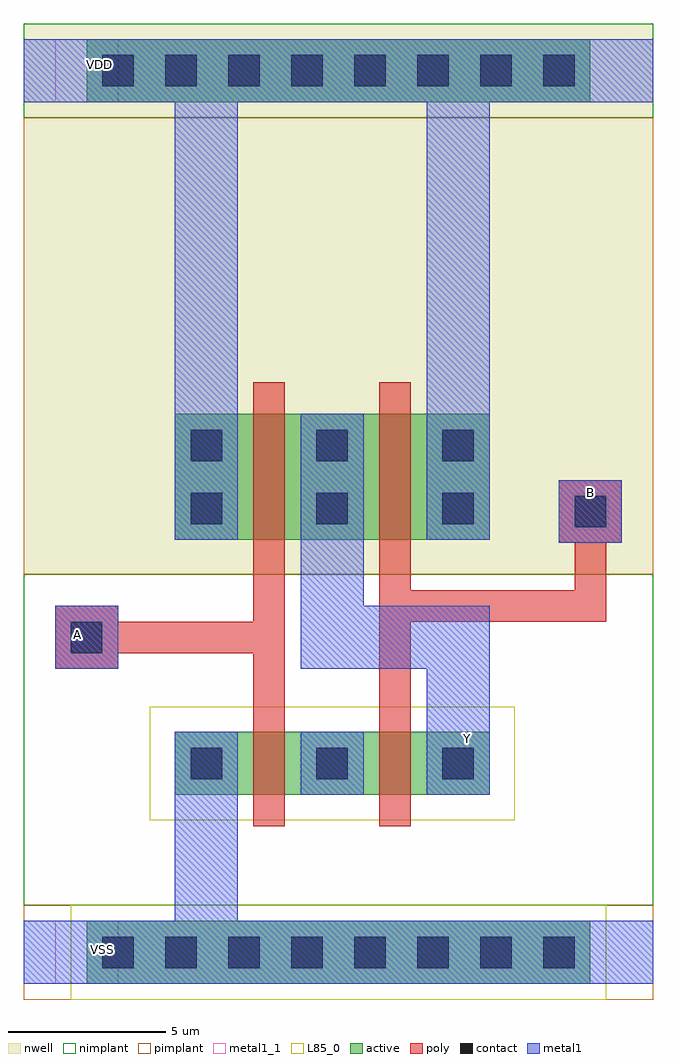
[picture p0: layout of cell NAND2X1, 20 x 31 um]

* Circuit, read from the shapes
.subckt NAND2X1 A B VDD VSS Y
M1 n1 A VSS VSS nfet w=2u l=1u
M2 Y B n1 VSS nfet w=2u l=1u
M3 Y A VDD VDD pfet w=4u l=1u
M4 VDD B Y VDD pfet w=4u l=1u
.ends

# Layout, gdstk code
from math import pi, radians
import gdstk
lib = gdstk.Library(unit=1e-6, precision=5e-10)
def R(c, l, rs):  # rectangles x0, y0, x1, y1
    for r in rs: c.add(gdstk.rectangle(r[:2], r[2:], *l))
def A(c, l, x, y, w, h, nx, ny, dx, dy):  # array of equal rectangles
    R(c, l, [(x+i*dx, y+j*dy, x+i*dx+w, y+j*dy+h) for i in range(nx) for j in range(ny)])
active = (1, 0)
nwell = (2, 0)
poly = (3, 0)
nimplant = (4, 0)
pimplant = (5, 0)
contact = (6, 0)
metal1 = (7, 0)
metal1_1 = (7, 1)
L85_0 = (85, 0)

pmos4_cdns_4 = lib.new_cell('pmos4_CDNS_4')
R(pmos4_cdns_4, active, [(1,1,7,5)])
R(pmos4_cdns_4, nwell, [(0.2,0.2,7.8,5.8)])
R(pmos4_cdns_4, poly, [(3.5,0,4.5,6), (3.6,5.5,4.4,5.9)])
R(pmos4_cdns_4, pimplant, [(0,0,8,6)])
R(pmos4_cdns_4, contact, [(1.5,1.5,2.5,2.5), (5.5,1.5,6.5,2.5), (1.5,3.5,2.5,4.5), (5.5,3.5,6.5,4.5)])
R(pmos4_cdns_4, metal1, [(1,1,3,5), (5,1,7,5), (1.3,1.3,2.7,2.7), (5.3,1.3,6.7,2.7)])

nmos4_cdns_5 = lib.new_cell('nmos4_CDNS_5')
R(nmos4_cdns_5, active, [(1,1,7,3)])
R(nmos4_cdns_5, poly, [(3.5,0,4.5,4), (3.6,3.4,4.4,3.9)])
R(nmos4_cdns_5, nimplant, [(0,0,8,4)])
R(nmos4_cdns_5, contact, [(1.5,1.5,2.5,2.5), (5.5,1.5,6.5,2.5)])
R(nmos4_cdns_5, metal1, [(1,1,3,3), (5,1,7,3), (1.3,1.3,2.7,2.7), (5.3,1.3,6.7,2.7)])
R(nmos4_cdns_5, L85_0, [(0.2,0.2,7.8,3.8)])

m1_po_cdns_1 = lib.new_cell('M1_PO_CDNS_1')
R(m1_po_cdns_1, poly, [(-1,-1,1,1)])
R(m1_po_cdns_1, contact, [(-0.5,-0.5,0.5,0.5)])
R(m1_po_cdns_1, metal1, [(-1,-1,1,1)])

m1_psub_cdns_2 = lib.new_cell('M1_PSUB_CDNS_2')
R(m1_psub_cdns_2, active, [(-8,-1,8,1)])
R(m1_psub_cdns_2, pimplant, [(-8.5,-1.5,8.5,1.5)])
A(m1_psub_cdns_2, contact, -7.5, -0.5, 1, 1, 8, 1, 2, 0)
R(m1_psub_cdns_2, metal1, [(-8,-1,8,1)])
R(m1_psub_cdns_2, L85_0, [(-8.5,-1.5,8.5,1.5)])

m1_nwell_cdns_3 = lib.new_cell('M1_NWELL_CDNS_3')
R(m1_nwell_cdns_3, active, [(-8,-1,8,1)])
R(m1_nwell_cdns_3, nwell, [(-8.5,-1.5,8.5,1.5)])
R(m1_nwell_cdns_3, nimplant, [(-8.5,-1.5,8.5,1.5)])
A(m1_nwell_cdns_3, contact, -7.5, -0.5, 1, 1, 8, 1, 2, 0)
R(m1_nwell_cdns_3, metal1, [(-8,-1,8,1)])

nand2x1 = lib.new_cell('NAND2X1')
R(nand2x1, nwell, [(0,12,20,29.5)])
R(nand2x1, nimplant, [(0,1.5,20,12), (0,26.5,20,29.5)])
R(nand2x1, pimplant, [(0,-1.5,20,1.5), (0,12,20,26.5)])
R(nand2x1, metal1, [(0,-1,20,1), (4.8,0.6,6.8,5.8), (1,9,3,11), (17,13,19,15), (4.8,15.2,6.8,28.5), (12.8,15.2,14.8,28.4), (0,27,20,29)])
R(nand2x1, metal1_1, [(1,-1,3,1), (12.8,5,14.8,7), (1,9,3,11), (17,13,19,15), (1,27,3,29)])
nand2x1.add(gdstk.FlexPath([(9.8,10),(13.8,10)], 2, ends="extended", simple_path=True, layer=7, datatype=0))  # metal1
nand2x1.add(gdstk.FlexPath([(9.8,17.1),(9.8,10)], 2, ends=(0, 1), simple_path=True, layer=7, datatype=0))  # metal1
nand2x1.add(gdstk.FlexPath([(13.8,10),(13.8,5)], 2, ends=(1, 0), simple_path=True, layer=7, datatype=0))  # metal1
nand2x1.add(gdstk.FlexPath([(2,10),(2,9)], 2, ends="flush", simple_path=True, layer=7, datatype=0))  # metal1
nand2x1.add(gdstk.FlexPath([(11.8,11),(11.8,7.9)], 1, ends=(0.5, 0), simple_path=True, layer=3, datatype=0))  # poly
nand2x1.add(gdstk.FlexPath([(11.8,11),(18,11)], 1, ends="extended", simple_path=True, layer=3, datatype=0))  # poly
nand2x1.add(gdstk.FlexPath([(18,11),(18,14)], 1, ends=(0.5, 0), simple_path=True, layer=3, datatype=0))  # poly
nand2x1.add(gdstk.FlexPath([(11.8,12.1),(11.8,11)], 1, ends=(0, 0.5), simple_path=True, layer=3, datatype=0))  # poly
nand2x1.add(gdstk.FlexPath([(7.8,12.2),(7.8,10)], 1, ends=(0, 0.5), simple_path=True, layer=3, datatype=0))  # poly
nand2x1.add(gdstk.FlexPath([(7.8,10),(7.8,7.4)], 1, ends=(0.5, 0), simple_path=True, layer=3, datatype=0))  # poly
nand2x1.add(gdstk.FlexPath([(7.8,10),(2,10)], 1, ends=(0.5, 0), simple_path=True, layer=3, datatype=0))  # poly
nand2x1.add(gdstk.Reference(pmos4_cdns_4, (3.8,12.1)))
nand2x1.add(gdstk.Reference(pmos4_cdns_4, (15.8,12.1), rotation=pi, x_reflection=True))
nand2x1.add(gdstk.Reference(nmos4_cdns_5, (7.8,4)))
nand2x1.add(gdstk.Reference(nmos4_cdns_5, (3.8,4)))
nand2x1.add(gdstk.Reference(m1_po_cdns_1, (18,14)))
nand2x1.add(gdstk.Reference(m1_po_cdns_1, (2,10)))
nand2x1.add(gdstk.Reference(m1_psub_cdns_2, (10,0)))
nand2x1.add(gdstk.Reference(m1_nwell_cdns_3, (10,28)))
nand2x1.add(gdstk.Label('VDD', (2.4,28.2), layer=7, texttype=3))
nand2x1.add(gdstk.Label('VSS', (2.5,0.1), layer=7, texttype=3))
nand2x1.add(gdstk.Label('A', (1.7,10.1), layer=7, texttype=3))
nand2x1.add(gdstk.Label('Y', (14.1,6.8), layer=7, texttype=3))
nand2x1.add(gdstk.Label('B', (18,14.6), layer=7, texttype=3))

lib.write_gds('NAND2X1.gds')
